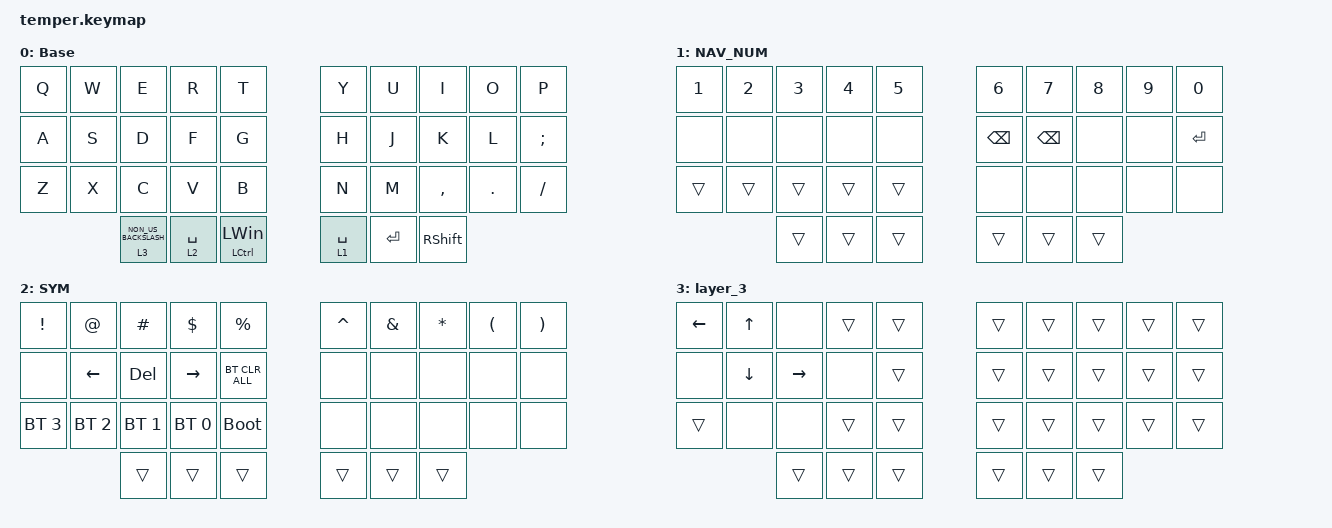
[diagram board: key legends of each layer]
/*
 * Copyright (c) 2020 duckyb
 *
 * SPDX-License-Identifier: MIT
 */

#include <dt-bindings/zmk/mouse.h>
#include <behaviors.dtsi>
#include <dt-bindings/zmk/bt.h>
#include <dt-bindings/zmk/keys.h>

#define Base 0
#define NAV_NUM 1
#define SYM 2
#define FUN 3

&sk { quick-release; };

&lt {
    flavor = "hold-preferred";
    quick-tap-ms = <180>;
};

/ {
    behaviors {
        hm: hm {
            compatible = "zmk,behavior-hold-tap";
            label = "HM";
            bindings = <&kp>, <&kp>;

            #binding-cells = <2>;
            quick-tap-ms = <170>;
            tapping-term-ms = <190>;
            global-quick-tap;
            flavor = "tap-preferred";
        };

        hml: hml {
            compatible = "zmk,behavior-hold-tap";
            label = "HML";
            bindings = <&kp>, <&kp>;

            #binding-cells = <2>;
            tapping-term-ms = <280>;
            quick-tap-ms = <175>;
            require-prior-idle-ms = <150>;
            flavor = "balanced";
            hold-trigger-on-release;
            hold-trigger-key-positions = <0 1 2 3 4 20 21 22 23 24 14 30 31 32 33 34 35 25 15 5 6 16 26 27 17 7 8 18 28 29 19 9>;
        };

        hmr: hmr {
            compatible = "zmk,behavior-hold-tap";
            label = "HMR";
            bindings = <&kp>, <&kp>;

            #binding-cells = <2>;
            tapping-term-ms = <280>;
            quick-tap-ms = <175>;
            require-prior-idle-ms = <150>;
            flavor = "balanced";
            hold-trigger-on-release;
            hold-trigger-key-positions = <0 10 20 21 1 11 12 2 3 4 24 14 13 23 22 30 31 32 33 34 35 25 26 28 27 29 9 8 7 6 5 15>;
        };

        mo_tog: mo_tog {
            compatible = "zmk,behavior-hold-tap";
            label = "MO_TOG";
            bindings = <&mo>, <&tog>;

            #binding-cells = <2>;
            tapping-term-ms = <200>;
            quick-tap-ms = <180>;
        };
    };

    combos {
        compatible = "zmk,combos";

        a {
            bindings = <&kp ENTER>;
            key-positions = <7 6>;
            timeout-ms = <30>;
        };

        b {
            bindings = <&kp TAB>;
            key-positions = <21 22>;
            timeout-ms = <30>;
        };

        c {
            bindings = <&kp BACKSPACE>;
            key-positions = <7 8>;
            timeout-ms = <30>;
        };

        d {
            bindings = <&kp ESC>;
            key-positions = <1 2>;
        };

        e {
            bindings = <&kp MINUS>;
            key-positions = <16 17>;
        };

        f {
            bindings = <&kp EQUAL>;
            key-positions = <17 18>;
        };

        g {
            bindings = <&kp CLCK>;
            key-positions = <11 12>;
        };

        h {
            bindings = <&kp BACKSPACE>;
            key-positions = <9 8>;
        };
    };

    keymap {
        compatible = "zmk,keymap";

        base {
            label = "Base";
            display-name = "Base";
            bindings = <
  &kp Q  &kp W  &kp E                   &kp R        &kp T                 &kp Y        &kp U      &kp I      &kp O    &kp P
  &kp A  &kp S  &kp D                   &kp F        &kp G                 &kp H        &kp J      &kp K      &kp L    &kp SEMI
  &kp Z  &kp X  &kp C                   &kp V        &kp B                 &kp N        &kp M      &kp COMMA  &kp DOT  &kp FSLH
                &lt 3 NON_US_BACKSLASH  &lt 2 SPACE  &mt LCTRL LEFT_WIN    &lt 1 SPACE  &kp ENTER  &kp RSHFT
            >;
        };

        nav_num {
            display-name = "NAV_NUM";
            label = "NAV_NUM";
            bindings = <
  &kp N1  &kp N2  &kp N3  &kp N4  &kp N5    &kp N6         &kp N7         &kp N8  &kp N9  &kp N0
  &none   &none   &none   &none   &none     &kp BACKSPACE  &kp BACKSPACE  &none   &none   &kp RETURN
  &trans  &trans  &trans  &trans  &trans    &none          &none          &none   &none   &none
                  &trans  &trans  &trans    &trans         &trans         &trans
            >;
        };

        sym {
            label = "SYM";
            display-name = "SYM";
            bindings = <
  &kp EXCLAMATION  &kp AT        &kp HASH      &kp DOLLAR    &kp PERCENT       &kp CARET  &kp AMPERSAND  &kp ASTERISK  &kp LEFT_PARENTHESIS  &kp RIGHT_PARENTHESIS
  &none            &kp LEFT      &kp DELETE    &kp RIGHT     &bt BT_CLR_ALL    &none      &none          &none         &none                 &none
  &bt BT_SEL 3     &bt BT_SEL 2  &bt BT_SEL 1  &bt BT_SEL 0  &bootloader       &none      &none          &none         &none                 &none
                                 &trans        &trans        &trans            &trans     &trans         &trans
            >;
        };

        layer_3 {
            bindings = <
  &kp LEFT_ARROW  &kp UP_ARROW    &none            &trans  &trans    &trans  &trans  &trans  &trans  &trans
  &none           &kp DOWN_ARROW  &kp RIGHT_ARROW  &none   &trans    &trans  &trans  &trans  &trans  &trans
  &trans          &none           &none            &trans  &trans    &trans  &trans  &trans  &trans  &trans
                                  &trans           &trans  &trans    &trans  &trans  &trans
            >;
        };
    };
};
